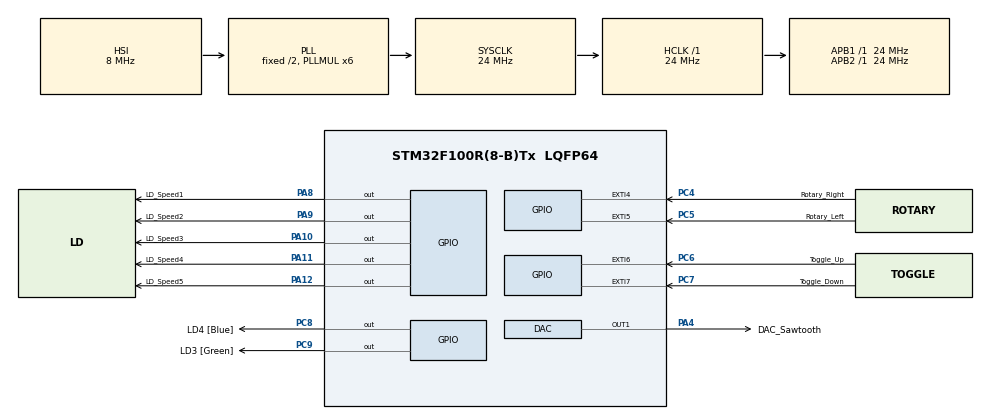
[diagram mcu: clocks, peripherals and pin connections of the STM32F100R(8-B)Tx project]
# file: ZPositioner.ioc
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Mcu.Family=STM32F1
Mcu.Name=STM32F100R(8-B)Tx
Mcu.Package=LQFP64
NVIC.EXTI4_IRQn=true\:9\:0\:true\:false\:true\:true\:true\:true
NVIC.EXTI9_5_IRQn=true\:9\:0\:true\:false\:true\:true\:true\:true
NVIC.PriorityGroup=NVIC_PRIORITYGROUP_4
NVIC.RCC_IRQn=true\:0\:0\:false\:false\:true\:true\:false\:true
PA10.GPIO_Label=LD_Speed3
PA10.GPIO_PuPd=GPIO_NOPULL
PA10.Signal=GPIO_Output
PA11.GPIO_Label=LD_Speed4
PA11.GPIO_PuPd=GPIO_NOPULL
PA11.Signal=GPIO_Output
PA12.GPIO_Label=LD_Speed5
PA12.GPIO_PuPd=GPIO_NOPULL
PA12.Signal=GPIO_Output
PA13.GPIO_Label=TMS_SWDIO
PA13.Signal=SYS_JTMS-SWDIO
PA14.GPIO_Label=TCK_SWCLK
PA14.Signal=SYS_JTCK-SWCLK
PA4.GPIO_Label=DAC_Sawtooth
PA4.Signal=COMP_DAC1_group
PA8.GPIO_Label=LD_Speed1
PA8.GPIO_PuPd=GPIO_NOPULL
PA8.Signal=GPIO_Output
PA9.GPIO_Label=LD_Speed2
PA9.GPIO_ModeDefaultOutputPP=GPIO_MODE_OUTPUT_PP
PA9.GPIO_PuPd=GPIO_NOPULL
PA9.Signal=GPIO_Output
PC14-OSC32_IN.Signal=RCC_OSC32_IN
PC15-OSC32_OUT.Signal=RCC_OSC32_OUT
PC4.GPIO_Label=Rotary_Right
PC4.GPIO_ModeDefaultEXTI=GPIO_MODE_IT_FALLING
PC4.Signal=GPXTI4
PC5.GPIO_Label=Rotary_Left
PC5.GPIO_ModeDefaultEXTI=GPIO_MODE_IT_FALLING
PC5.Signal=GPXTI5
PC6.GPIO_Label=Toggle_Up
PC6.GPIO_ModeDefaultEXTI=GPIO_MODE_IT_FALLING
PC6.GPIO_PuPd=GPIO_NOPULL
PC6.Signal=GPXTI6
PC7.GPIO_Label=Toggle_Down
PC7.GPIO_ModeDefaultEXTI=GPIO_MODE_IT_FALLING
PC7.GPIO_PuPd=GPIO_NOPULL
PC7.Signal=GPXTI7
PC8.GPIO_Label=LD4 [Blue]
PC8.Signal=GPIO_Output
PC9.GPIO_Label=LD3 [Green]
PC9.Signal=GPIO_Output
ProjectManager.HeapSize=0x200
ProjectManager.StackSize=0x400
ProjectManager.TargetToolchain=STM32CubeIDE
RCC.AHBFreq_Value=24000000
RCC.APB1Freq_Value=24000000
RCC.APB1TimFreq_Value=24000000
RCC.APB2Freq_Value=24000000
RCC.APB2TimFreq_Value=24000000
RCC.HCLKFreq_Value=24000000
RCC.PLLMUL=RCC_PLL_MUL6
RCC.SYSCLKFreq_VALUE=24000000
RCC.SYSCLKSource=RCC_SYSCLKSOURCE_PLLCLK
SH.COMP_DAC1_group.0=DAC_OUT1,DAC_OUT1
TIM2.AutoReloadPreload=TIM_AUTORELOAD_PRELOAD_ENABLE
TIM2.Prescaler=16
VP_SYS_VS_ND.Mode=No_Debug
VP_TIM2_VS_ClockSourceINT.Mode=Internal
board=STM32VLDISCOVERY

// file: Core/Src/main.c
/* USER CODE BEGIN Header */
/**
  ******************************************************************************
  * @file           : main.c
  * @brief          : Main program body
  ******************************************************************************
  * @attention
  *
  * Copyright (c) 2023 STMicroelectronics.
  * All rights reserved.
  *
  * This software is licensed under terms that can be found in the LICENSE file
  * in the root directory of this software component.
  * If no LICENSE file comes with this software, it is provided AS-IS.
  *
  ******************************************************************************
  */
/* USER CODE END Header */
#include "main.h"

/* USER CODE BEGIN Includes */
#include "stm32f100xb.h"
#include <stdbool.h>
#include <stdint.h>
#include "stm32f1xx_hal.h"
#include "stm32f1xx_hal_dac.h"
#include "core_cm3.h"
/* USER CODE END Includes */

/* USER CODE BEGIN PD */
bool Rotary2_L_Debounce = false; // when true, it's in waiting period
bool Rotary2_R_Debounce = false; // when true, it's in waiting period
const int Debounce_period = 10; //unit: ms
int totalCycles = 100;
int APB1_clk = 8000000;// unit: Hz
int Sawtooth_Freq = 1000;
int sample_per_period;
int length_of_waveform ;
int Waveform[100]; //length should be defined.
int duty_mode= 1;
int mode = 0;
bool PWM_duty_EXTI_Flag = false;
bool Toggle_unlock = false;
bool DAC_Out_EXTI_Flag = false;
uint32_t Speed = 0;
int rot_old_state = 0;
int rot_new_state = 0;
int rot_cnt = 0;
int Rotary_dir = 1;
int busy_flag = 0;
int32_t DAC_value = 0;
int32_t fine_DAC_value = 0;

/* USER CODE END PD */

DAC_HandleTypeDef hdac;

TIM_HandleTypeDef htim2;

void SystemClock_Config(void);
static void MX_GPIO_Init(void);
static void MX_DAC_Init(void);
static void MX_TIM2_Init(void);
/* USER CODE BEGIN PFP */
void HAL_GPIO_EXTI_Callback(uint16_t GPIO_Pin);
void generateSawtooth(uint32_t divider, int32_t Rotary_dir, uint32_t duty, int rot_cnt);
void SpeedLD_Display(void);
void UpdateInterruptSignal(void);
void Coarse_Move(uint32_t duty_counter, uint32_t total_counter, int32_t direction);
void Fine_Move(uint32_t increment, int32_t direction);
void BlinkLED(uint16_t Toggle_Pin);
void delay_ms(uint16_t au16_ms);
void delay_us(uint16_t au16_us);
/* USER CODE END PFP */

int main(void)
{

  /* MCU Configuration--------------------------------------------------------*/

  /* Reset of all peripherals, Initializes the Flash interface and the Systick. */
  HAL_Init();

  /* Configure the system clock */
  SystemClock_Config();

  /* Initialize all configured peripherals */
  MX_GPIO_Init();
  MX_DAC_Init();
  MX_TIM2_Init();
  /* USER CODE BEGIN 2 */
  HAL_DAC_Start(&hdac, DAC_CHANNEL_1);
  HAL_GPIO_WritePin(LD3_GPIO_Port, LD3_Pin, GPIO_PIN_RESET);
  HAL_GPIO_WritePin(LD4_GPIO_Port, LD4_Pin, GPIO_PIN_RESET);
  HAL_SYSTICK_Config(SystemCoreClock/200);
  HAL_GPIO_WritePin(LD_Speed1_GPIO_Port, 0x1F00, GPIO_PIN_SET);
  HAL_DAC_SetValue(&hdac, DAC_CHANNEL_1, DAC_ALIGN_12B_R, 0);

  //SpeedLD_Display();
  HAL_TIM_Base_Start(&htim2);
  /* USER CODE END 2 */

  /* Infinite loop */
  /* USER CODE BEGIN WHILE */
  while (1)
  {
	  DAC_Out_EXTI_Flag = false;
	  PWM_duty_EXTI_Flag = false;

    /* USER CODE END WHILE */

  }
}

void SystemClock_Config(void)
{
  RCC_OscInitTypeDef RCC_OscInitStruct = {0};
  RCC_ClkInitTypeDef RCC_ClkInitStruct = {0};

  /** Initializes the RCC Oscillators according to the specified parameters
  * in the RCC_OscInitTypeDef structure.
  */
  RCC_OscInitStruct.OscillatorType = RCC_OSCILLATORTYPE_HSI;
  RCC_OscInitStruct.HSIState = RCC_HSI_ON;
  RCC_OscInitStruct.HSICalibrationValue = RCC_HSICALIBRATION_DEFAULT;
  RCC_OscInitStruct.PLL.PLLState = RCC_PLL_ON;
  RCC_OscInitStruct.PLL.PLLSource = RCC_PLLSOURCE_HSI_DIV2;
  RCC_OscInitStruct.PLL.PLLMUL = RCC_PLL_MUL6;
  if (HAL_RCC_OscConfig(&RCC_OscInitStruct) != HAL_OK)
  {
    Error_Handler();
  }

  /** Initializes the CPU, AHB and APB buses clocks
  */
  RCC_ClkInitStruct.ClockType = RCC_CLOCKTYPE_HCLK|RCC_CLOCKTYPE_SYSCLK
                              |RCC_CLOCKTYPE_PCLK1|RCC_CLOCKTYPE_PCLK2;
  RCC_ClkInitStruct.SYSCLKSource = RCC_SYSCLKSOURCE_PLLCLK;
  RCC_ClkInitStruct.AHBCLKDivider = RCC_SYSCLK_DIV1;
  RCC_ClkInitStruct.APB1CLKDivider = RCC_HCLK_DIV1;
  RCC_ClkInitStruct.APB2CLKDivider = RCC_HCLK_DIV1;

  if (HAL_RCC_ClockConfig(&RCC_ClkInitStruct, FLASH_LATENCY_0) != HAL_OK)
  {
    Error_Handler();
  }
}

static void MX_DAC_Init(void)
{

  DAC_ChannelConfTypeDef sConfig = {0};

  /** DAC Initialization
  */
  hdac.Instance = DAC;
  if (HAL_DAC_Init(&hdac) != HAL_OK)
  {
    Error_Handler();
  }

  /** DAC channel OUT1 config
  */
  sConfig.DAC_Trigger = DAC_TRIGGER_NONE;
  sConfig.DAC_OutputBuffer = DAC_OUTPUTBUFFER_ENABLE;
  if (HAL_DAC_ConfigChannel(&hdac, &sConfig, DAC_CHANNEL_1) != HAL_OK)
  {
    Error_Handler();
  }

}

static void MX_TIM2_Init(void)
{

  TIM_ClockConfigTypeDef sClockSourceConfig = {0};
  TIM_MasterConfigTypeDef sMasterConfig = {0};

  htim2.Instance = TIM2;
  htim2.Init.Prescaler = 24;
  htim2.Init.CounterMode = TIM_COUNTERMODE_UP;
  htim2.Init.Period = 65535;
  htim2.Init.ClockDivision = TIM_CLOCKDIVISION_DIV1;
  htim2.Init.AutoReloadPreload = TIM_AUTORELOAD_PRELOAD_ENABLE;
  if (HAL_TIM_Base_Init(&htim2) != HAL_OK)
  {
    Error_Handler();
  }
  sClockSourceConfig.ClockSource = TIM_CLOCKSOURCE_INTERNAL;
  if (HAL_TIM_ConfigClockSource(&htim2, &sClockSourceConfig) != HAL_OK)
  {
    Error_Handler();
  }
  sMasterConfig.MasterOutputTrigger = TIM_TRGO_RESET;
  sMasterConfig.MasterSlaveMode = TIM_MASTERSLAVEMODE_DISABLE;
  if (HAL_TIMEx_MasterConfigSynchronization(&htim2, &sMasterConfig) != HAL_OK)
  {
    Error_Handler();
  }

}

static void MX_GPIO_Init(void)
{
  GPIO_InitTypeDef GPIO_InitStruct = {0};

  /* GPIO Ports Clock Enable */
  __HAL_RCC_GPIOC_CLK_ENABLE();
  __HAL_RCC_GPIOA_CLK_ENABLE();

  /*Configure GPIO pin Output Level */
  HAL_GPIO_WritePin(GPIOC, LD4_Pin|LD3_Pin, GPIO_PIN_RESET);

  /*Configure GPIO pin Output Level */
  HAL_GPIO_WritePin(GPIOA, LD_Speed1_Pin|LD_Speed2_Pin|LD_Speed3_Pin|LD_Speed4_Pin
                          |LD_Speed5_Pin, GPIO_PIN_RESET);

  /*Configure GPIO pins : Rotary_Right_Pin Rotary_Left_Pin Toggle_Up_Pin Toggle_Down_Pin */
  GPIO_InitStruct.Pin = Rotary_Right_Pin|Rotary_Left_Pin|Toggle_Up_Pin|Toggle_Down_Pin;
  GPIO_InitStruct.Mode = GPIO_MODE_IT_FALLING;
  GPIO_InitStruct.Pull = GPIO_NOPULL;
  HAL_GPIO_Init(GPIOC, &GPIO_InitStruct);

  /*Configure GPIO pins : LD4_Pin LD3_Pin */
  GPIO_InitStruct.Pin = LD4_Pin|LD3_Pin;
  GPIO_InitStruct.Mode = GPIO_MODE_OUTPUT_PP;
  GPIO_InitStruct.Pull = GPIO_NOPULL;
  GPIO_InitStruct.Speed = GPIO_SPEED_FREQ_LOW;
  HAL_GPIO_Init(GPIOC, &GPIO_InitStruct);

  /*Configure GPIO pins : LD_Speed1_Pin LD_Speed2_Pin LD_Speed3_Pin LD_Speed4_Pin
                           LD_Speed5_Pin */
  GPIO_InitStruct.Pin = LD_Speed1_Pin|LD_Speed2_Pin|LD_Speed3_Pin|LD_Speed4_Pin
                          |LD_Speed5_Pin;
  GPIO_InitStruct.Mode = GPIO_MODE_OUTPUT_PP;
  GPIO_InitStruct.Pull = GPIO_NOPULL;
  GPIO_InitStruct.Speed = GPIO_SPEED_FREQ_LOW;
  HAL_GPIO_Init(GPIOA, &GPIO_InitStruct);

  /* EXTI interrupt init*/
  HAL_NVIC_SetPriority(EXTI4_IRQn, 9, 0);
  HAL_NVIC_EnableIRQ(EXTI4_IRQn);

  HAL_NVIC_SetPriority(EXTI9_5_IRQn, 9, 0);
  HAL_NVIC_EnableIRQ(EXTI9_5_IRQn);

}

/* USER CODE BEGIN 4 */

void HAL_GPIO_EXTI_Callback(uint16_t GPIO_Pin){
	uint16_t Toggle_Pin = 0x0100;
	uint16_t Not_Toggle_Pin = 0x1F00;
	if(GPIO_Pin == Toggle_Up_Pin && Toggle_unlock)
	{
		Toggle_unlock = false;

		PWM_duty_EXTI_Flag = false;
		if(duty_mode == 5)
		{
			duty_mode = 5;
		}
		else{
			 duty_mode++;
		}
		HAL_GPIO_WritePin(LD_Speed1_GPIO_Port, Not_Toggle_Pin, GPIO_PIN_RESET);

		uint16_t Pin_count = 0x0001;
		for(int mode = 1; mode<duty_mode; mode++)
		{
			Pin_count = Pin_count+(0x0001<<mode);
		}
		// Offset to GPIOA_Pin8
		Toggle_Pin = Pin_count <<8;

		HAL_GPIO_WritePin(LD_Speed1_GPIO_Port, Toggle_Pin, GPIO_PIN_SET);

	}

	else if(GPIO_Pin == Toggle_Down_Pin && Toggle_unlock)
	{
		Toggle_unlock = false;
		PWM_duty_EXTI_Flag = false;
		if(duty_mode == 1)
		{
			duty_mode = 1;

		}
		else{
			 duty_mode--;
		}

		uint16_t Pin_count = 0x0001;
		for(int mode = 1; mode<duty_mode; mode++)
		{
			Pin_count = Pin_count+(0x0001<<mode);
		}
		// Offset to GPIOA_Pin8
		Toggle_Pin = Pin_count <<8;

		HAL_GPIO_WritePin(LD_Speed1_GPIO_Port, Not_Toggle_Pin, GPIO_PIN_RESET);
		HAL_GPIO_WritePin(GPIOA, Toggle_Pin, GPIO_PIN_SET);

	}

//	else if ((GPIO_Pin == Rotary_Right_Pin) && (!(DAC_Out_EXTI_Flag||PWM_duty_EXTI_Flag)))
	else if ((GPIO_Pin == Rotary_Right_Pin) && (!DAC_Out_EXTI_Flag))
	{
		if(HAL_GPIO_ReadPin(GPIOC, Rotary_Left_Pin)==1)
		{
			Rotary_dir = 1;
			DAC_Out_EXTI_Flag = true;
			generateSawtooth(1,Rotary_dir,duty_mode, 1);
		}
	}
	//else if ((GPIO_Pin == Rotary_Left_Pin) && (!(DAC_Out_EXTI_Flag||PWM_duty_EXTI_Flag)))
	else if ((GPIO_Pin == Rotary_Left_Pin) && !(DAC_Out_EXTI_Flag))
	{
		if(HAL_GPIO_ReadPin(GPIOC, Rotary_Right_Pin)==1)
		{
			Rotary_dir = -1;
			DAC_Out_EXTI_Flag = true;
			generateSawtooth(1,Rotary_dir,duty_mode, 1);
		}
	}
}

void SpeedLD_Display()
{
	//uint16_t PIN_Mask = 0x1100;
	uint16_t Toggle_Pin = 0x0000;
	uint16_t Not_Toggle_Pin = 0x1111;

	if(duty_mode == 1) Toggle_Pin = 0x0100;
	if(duty_mode == 2) Toggle_Pin = 0x0300;
	if(duty_mode == 3) Toggle_Pin = 0x0700;
	if(duty_mode == 4) Toggle_Pin = 0x0f00;
	if(duty_mode == 5) Toggle_Pin = 0x1f00;
//
//	if(duty_mode == 1) Toggle_Pin = 0x0100;
//	if(duty_mode == 2) Toggle_Pin = 0x0200;
//	if(duty_mode == 3) Toggle_Pin = 0x0400;
//	if(duty_mode == 4) Toggle_Pin = 0x0800;
//	if(duty_mode == 5) Toggle_Pin = 0x1000;

	Not_Toggle_Pin = (!Toggle_Pin)-0x00ff;

	HAL_GPIO_WritePin(LD_Speed1_GPIO_Port, Toggle_Pin, GPIO_PIN_SET);
	HAL_GPIO_WritePin(LD_Speed1_GPIO_Port, Not_Toggle_Pin, GPIO_PIN_RESET);

}

void  UpdateInterruptSignal()
{
	//PWM_duty_EXTI_Flag = true; // unlock every 100 ms;
	DAC_Out_EXTI_Flag = false;
	Toggle_unlock = true;
}

void generateSawtooth(uint32_t divider, int32_t direction, uint32_t duty_mode, int rot_cnt)
{

  DAC_value = (uint32_t)(2047);
  //uint32_t Output_EN = 1;
  uint32_t duty_counter = 1;
  uint32_t total_counter = 1;
  busy_flag = 1;
  switch (duty_mode)
  {
    //Fine mode 1
  case 1:
    Fine_Move(128, direction);
    break;

   //Fine mode 2 (Faster)
  case 2:
    Fine_Move(512, direction);
    break;

   //66% duty cycle
  case 3:
    duty_counter = 1;
    total_counter = 2;
    Coarse_Move(duty_counter, total_counter, direction);
    break;

   //100% duty cycle
  case 4:
    duty_counter = 2;
    total_counter = 3;
    Coarse_Move(duty_counter, total_counter, direction);
    break;

   //100% duty cycle
  case 5:
    duty_counter = 1;
    total_counter = 1;
    Coarse_Move(duty_counter, total_counter, direction);
    break;

  default:
    break;
  }

}

void Coarse_Move(uint32_t duty_counter, uint32_t total_counter, int32_t direction)
{
	  int32_t DAC_value = 0;
	  int32_t DAC_value_ini = 0;
	  uint32_t period =64;
	  uint32_t increment = (uint32_t)(4096/period);
	  uint32_t Output_EN = 1;

	  if(direction ==1)
	  {
		  DAC_value_ini = 0;
	  }
	  else if (direction == -1)
	  {
		  DAC_value_ini = 4095;
	  }

	  for (uint32_t cycle = 0; cycle <64; cycle++)
	  {
	    //calculate output_EN based on the duty cycle and the current cycle
	    if(cycle%total_counter == 0)
	    {
	      Output_EN = 1;
	    }
	    else if(cycle%total_counter < duty_counter)
	    {
	      Output_EN = 1;
	    }
	    else
	    {
	      Output_EN = 0;
	    }
	    DAC_value = DAC_value_ini;
		HAL_DAC_SetValue(&hdac, DAC_CHANNEL_1, DAC_ALIGN_12B_R, DAC_value*Output_EN);

	    // Generate a ramp-up cycle
	    for (uint32_t i = 0; i < (period-1); i++)
	    {
	      // Increment the DAC output value to generate the sawtooth waveform
	    	if (Output_EN)
	    	{
	    		DAC_value += increment*direction;
	    		if(DAC_value >=4095) { DAC_value =4095;}
	    		else if(DAC_value <0) {DAC_value =0;}
	    	}
	    	else
	    	{
	    		DAC_value = 0;
	    	}

	      HAL_DAC_SetValue(&hdac, DAC_CHANNEL_1, DAC_ALIGN_12B_R, DAC_value*Output_EN);
	      delay_us(10);
	    }
	  }
	  busy_flag = 0;
	  HAL_DAC_SetValue(&hdac, DAC_CHANNEL_1, DAC_ALIGN_12B_R, 0);

}
void Fine_Move(uint32_t increment, int32_t direction)
{
	int32_t tmp = fine_DAC_value;
    fine_DAC_value = fine_DAC_value + increment*direction;
    int32_t goal = fine_DAC_value;
    while(tmp!=goal)
    {
    	tmp = tmp + direction;
//    	if(tmp >=4095)
//    	{
//    		tmp =0;
//    		HAL_DAC_SetValue(&hdac, DAC_CHANNEL_1, DAC_ALIGN_12B_R, tmp);
//    		fine_DAC_value=tmp;
//    		delay_us(10);
//
//    		break;
//    	}
//    	else if (tmp<0)
//    	{
//    		tmp = 4095;
//    		HAL_DAC_SetValue(&hdac, DAC_CHANNEL_1, DAC_ALIGN_12B_R, tmp);
//    		fine_DAC_value=tmp;
//    		delay_us(10);
//
//    		break;
//    	}
//    	else
    	{
    		HAL_DAC_SetValue(&hdac, DAC_CHANNEL_1, DAC_ALIGN_12B_R, tmp);
    		fine_DAC_value=tmp;
    		delay_us(1000);

    	}
    }
//	if(DAC_value >=4095) { DAC_value =0;}
//	else if(DAC_value <0) {DAC_value =4095;}
//
//	HAL_DAC_SetValue(&hdac, DAC_CHANNEL_1, DAC_ALIGN_12B_R, fine_DAC_value);

}
void BlinkLED(uint16_t Toggle_Pin)
{
	HAL_Delay(200);
	HAL_GPIO_WritePin(GPIOA, Toggle_Pin, GPIO_PIN_RESET);
	HAL_Delay(200);
	HAL_GPIO_WritePin(GPIOA, Toggle_Pin, GPIO_PIN_SET);
	HAL_Delay(200);
	HAL_GPIO_WritePin(GPIOA, Toggle_Pin, GPIO_PIN_RESET);
	HAL_Delay(200);
	HAL_GPIO_WritePin(GPIOA, Toggle_Pin, GPIO_PIN_SET);
	HAL_Delay(200);
	HAL_GPIO_WritePin(GPIOA, Toggle_Pin, GPIO_PIN_RESET);
	HAL_Delay(200);
	HAL_GPIO_WritePin(GPIOA, Toggle_Pin, GPIO_PIN_SET);
}
void delay_us(uint16_t au16_us)
{
	htim2.Instance->CNT = 0;
    while (htim2.Instance->CNT < au16_us);
}
void delay_ms(uint16_t au16_ms)
{
    while(au16_ms > 0)
    {
    htim2.Instance->CNT = 0;
    au16_ms--;
    while (htim2.Instance->CNT < 1000);
    }
}
/* USER CODE END 4 */

void Error_Handler(void)
{
  __disable_irq();
  while (1)
  {
  }
}
